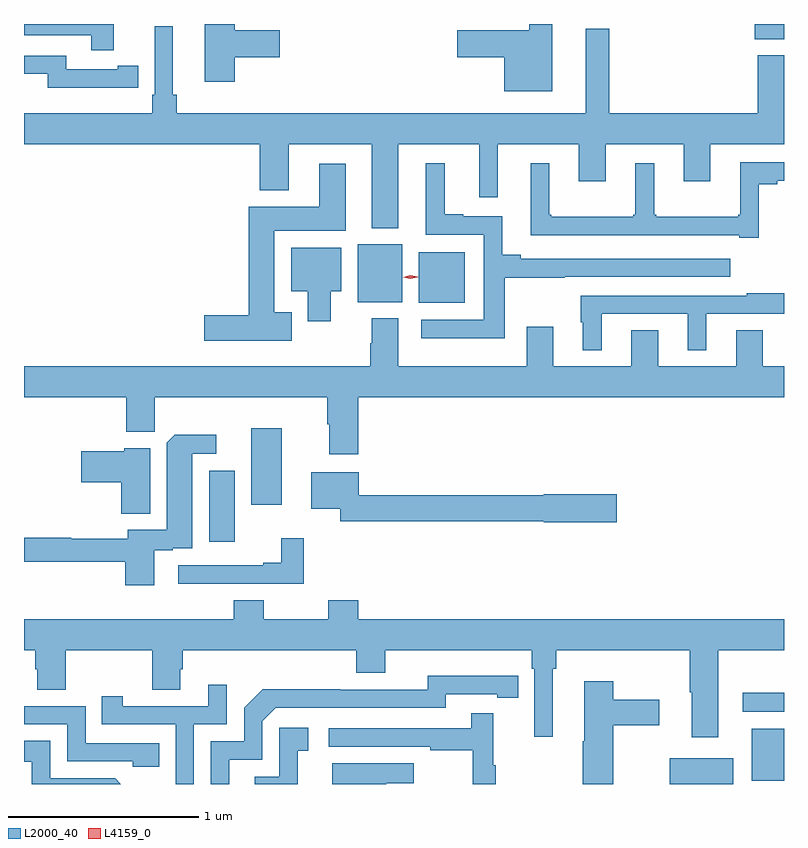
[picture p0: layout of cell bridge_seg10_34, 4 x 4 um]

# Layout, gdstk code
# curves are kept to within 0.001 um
import gdstk
lib = gdstk.Library(unit=1e-6, precision=1e-09)
def R(c, l, rs):  # rectangles x0, y0, x1, y1
    for r in rs: c.add(gdstk.rectangle(r[:2], r[2:], *l))
def P(c, l, *ps):  # polygons
    for p in ps: c.add(gdstk.Polygon(p, *l))
L2000_40 = (2000, 40)
L4159_0 = (4159, 0)

bridge_seg10_34 = lib.new_cell('bridge_seg10_34')
R(bridge_seg10_34, L2000_40, [(942.344,1320.925,942.679,1321.06), (942.776,1320.941,942.946,1321.216), (942.729,1321.305,942.946,1321.404), (939.92,1322.199,940.054,1322.575), (940.142,1322.394,940.303,1322.797), (941.024,1323.458,941.266,1323.724), (940.703,1323.461,940.936,1323.766), (942.791,1324.846,942.946,1324.925)])
P(bridge_seg10_34, L2000_40, [(940.055,1324.75),(940.291,1324.75),(940.291,1324.892),(940.055,1324.892),(940.055,1324.925),(939.896,1324.925),(939.896,1324.62),(940.055,1324.62)],
  [(939.419,1324.925),(938.946,1324.925),(938.946,1324.866),(939.301,1324.866),(939.301,1324.788),(939.419,1324.788)],
  [(941.725,1324.925),(941.604,1324.925),(941.604,1324.892),(941.226,1324.892),(941.226,1324.75),(941.474,1324.75),(941.474,1324.571),(941.725,1324.571)],
  [(940.915,1324.292),(941.342,1324.292),(941.342,1324.014),(941.44,1324.014),(941.44,1324.292),(941.867,1324.292),(941.867,1324.098),(942.007,1324.098),(942.007,1324.292),(942.419,1324.292),(942.419,1324.098),(942.559,1324.098),(942.559,1324.292),(942.946,1324.292),(942.946,1324.761),(942.809,1324.761),(942.809,1324.456),(942.025,1324.456),(942.025,1324.9),(941.903,1324.9),(941.903,1324.456),(939.749,1324.456),(939.749,1324.552),(939.73,1324.552),(939.73,1324.912),(939.633,1324.912),(939.633,1324.552),(939.62,1324.552),(939.62,1324.456),(938.946,1324.456),(938.946,1324.292),(940.187,1324.292),(940.187,1324.049),(940.339,1324.049),(940.339,1324.292),(940.775,1324.292),(940.775,1323.851),(940.915,1323.851)],
  [(939.44,1324.59),(939.548,1324.59),(939.548,1324.706),(939.44,1324.706),(939.44,1324.686),(939.168,1324.686),(939.168,1324.758),(938.946,1324.758),(938.946,1324.662),(939.072,1324.662),(939.072,1324.589),(939.44,1324.589)],
  [(942.814,1324.081),(942.91,1324.081),(942.91,1324.1),(942.946,1324.1),(942.946,1324.197),(942.716,1324.197),(942.716,1323.922),(942.705,1323.922),(942.705,1323.911),(942.274,1323.911),(942.274,1323.922),(942.262,1323.922),(942.262,1324.192),(942.164,1324.192),(942.164,1323.922),(942.153,1323.922),(942.153,1323.911),(941.722,1323.911),(941.722,1323.922),(941.71,1323.922),(941.71,1324.192),(941.612,1324.192),(941.612,1323.813),(942.71,1323.813),(942.71,1323.801),(942.814,1323.801)],
  [(941.476,1323.589),(941.792,1323.589),(941.792,1323.594),(942.664,1323.594),(942.664,1323.69),(941.56,1323.69),(941.56,1323.71),(941.464,1323.71),(941.464,1323.912),(941.257,1323.912),(941.257,1323.925),(941.161,1323.925),(941.161,1324.192),(941.06,1324.192),(941.06,1323.816),(941.367,1323.816),(941.367,1323.369),(941.037,1323.369),(941.037,1323.272),(941.476,1323.272)],
  [(940.354,1323.409),(940.264,1323.409),(940.264,1323.836),(940.639,1323.836),(940.639,1324.189),(940.499,1324.189),(940.499,1323.964),(940.13,1323.964),(940.13,1323.392),(939.894,1323.392),(939.894,1323.257),(940.354,1323.257)],
  [(940.561,1323.518),(940.615,1323.518),(940.615,1323.748),(940.352,1323.748),(940.352,1323.518),(940.439,1323.518),(940.439,1323.36),(940.561,1323.36)],
  [(941.986,1323.399),(942.44,1323.399),(942.44,1323.209),(942.538,1323.209),(942.538,1323.399),(942.946,1323.399),(942.946,1323.508),(942.751,1323.508),(942.751,1323.495),(941.877,1323.495),(941.877,1323.356),(941.888,1323.356),(941.888,1323.209),(941.986,1323.209)],
  [(940.706,1322.96),(942.946,1322.96),(942.946,1323.124),(942.835,1323.124),(942.835,1323.314),(942.695,1323.314),(942.695,1323.124),(942.283,1323.124),(942.283,1323.314),(942.143,1323.314),(942.143,1323.124),(941.731,1323.124),(941.731,1323.331),(941.591,1323.331),(941.591,1323.124),(940.915,1323.124),(940.915,1323.376),(940.775,1323.376),(940.775,1323.245),(940.768,1323.245),(940.768,1323.124),(938.946,1323.124),(938.946,1322.96),(939.485,1322.96),(939.485,1322.778),(939.635,1322.778),(939.635,1322.96),(940.541,1322.96),(940.541,1322.819),(940.553,1322.819),(940.553,1322.661),(940.706,1322.661)],
  [(939.631,1322.154),(939.728,1322.154),(939.728,1322.166),(939.832,1322.166),(939.832,1322.664),(939.958,1322.664),(939.958,1322.762),(939.74,1322.762),(939.698,1322.72),(939.698,1322.262),(939.491,1322.262),(939.491,1322.215),(939.195,1322.215),(939.195,1322.222),(938.946,1322.222),(938.946,1322.094),(939.479,1322.094),(939.479,1321.971),(939.631,1321.971)],
  [(939.61,1322.692),(939.474,1322.692),(939.474,1322.677),(939.246,1322.677),(939.246,1322.512),(939.458,1322.512),(939.458,1322.347),(939.61,1322.347)],
  [(942.067,1322.45),(941.682,1322.45),(941.682,1322.444),(940.707,1322.444),(940.707,1322.566),(940.457,1322.566),(940.457,1322.375),(940.611,1322.375),(940.611,1322.308),(941.682,1322.308),(941.682,1322.303),(942.067,1322.303)],
  [(940.418,1322.218),(940.3,1322.218),(940.3,1322.089),(940.205,1322.089),(940.205,1322.076),(939.759,1322.076),(939.759,1321.98),(940.418,1321.98)],
  [(942.601,1321.628),(942.946,1321.628),(942.946,1321.792),(940.706,1321.792),(940.706,1321.891),(940.546,1321.891),(940.546,1321.792),(940.209,1321.792),(940.209,1321.891),(940.049,1321.891),(940.049,1321.792),(938.946,1321.792),(938.946,1321.628),(939.005,1321.628),(939.005,1321.53),(939.017,1321.53),(939.017,1321.42),(939.165,1321.42),(939.165,1321.628),(939.622,1321.628),(939.622,1321.42),(939.769,1321.42),(939.769,1321.53),(939.782,1321.53),(939.782,1321.628),(940.694,1321.628),(940.694,1321.511),(940.846,1321.511),(940.846,1321.628),(941.618,1321.628),(941.618,1321.532),(941.631,1321.532),(941.631,1321.173),(941.728,1321.173),(941.728,1321.532),(941.747,1321.532),(941.747,1321.628),(942.449,1321.628),(942.449,1321.407),(942.461,1321.407),(942.461,1321.17),(942.601,1321.17)],
  [(940.027,1321.053),(940.2,1321.053),(940.2,1321.254),(940.272,1321.326),(941.166,1321.326),(941.166,1321.398),(941.438,1321.398),(941.438,1321.378),(941.546,1321.378),(941.546,1321.494),(941.07,1321.495),(941.07,1321.422),(940.61,1321.422),(940.61,1321.424),(940.202,1321.424),(940.104,1321.326),(940.104,1321.149),(939.93,1321.149),(939.93,1320.925),(940.027,1320.925)],
  [(942.048,1321.235),(942.289,1321.235),(942.289,1321.369),(942.048,1321.369),(942.048,1321.465),(941.894,1321.465),(941.894,1321.151),(941.887,1321.151),(941.887,1320.925),(942.048,1320.925)],
  [(939.84,1321.239),(940.014,1321.239),(940.014,1321.447),(939.917,1321.447),(939.917,1321.335),(939.466,1321.335),(939.466,1321.387),(939.355,1321.387),(939.355,1321.239),(939.744,1321.239),(939.744,1320.925),(939.84,1320.925)],
  [(939.659,1321.14),(939.27,1321.14),(939.27,1321.335),(938.946,1321.335),(938.946,1321.239),(939.174,1321.239),(939.174,1321.044),(939.519,1321.044),(939.519,1321.017),(939.659,1321.017)],
  [(941.428,1321.025),(941.417,1321.025),(941.417,1321.297),(941.299,1321.297),(941.299,1321.218),(940.551,1321.218),(940.551,1321.122),(941.083,1321.122),(941.083,1321.102),(941.307,1321.102),(941.307,1320.925),(941.428,1320.925)],
  [(940.388,1321.101),(940.441,1321.101),(940.441,1321.222),(940.29,1321.222),(940.29,1320.963),(940.161,1320.963),(940.161,1320.925),(940.388,1320.925)],
  [(939.426,1320.954),(939.084,1320.954),(939.084,1321.153),(938.946,1321.153),(938.946,1321.043),(938.986,1321.043),(938.986,1320.925),(939.455,1320.925)],
  [(940.853,1320.929),(940.996,1320.929),(940.996,1321.033),(940.568,1321.033),(940.568,1320.925),(940.853,1320.925)])
P(bridge_seg10_34, L4159_0, [(940.98,1323.583),(940.942,1323.593),(940.942,1323.593),(940.942,1323.593),(940.98,1323.603),(941.018,1323.594),(941.018,1323.594),(941.018,1323.593)])

lib.write_gds('bridge_seg10_34.gds')
